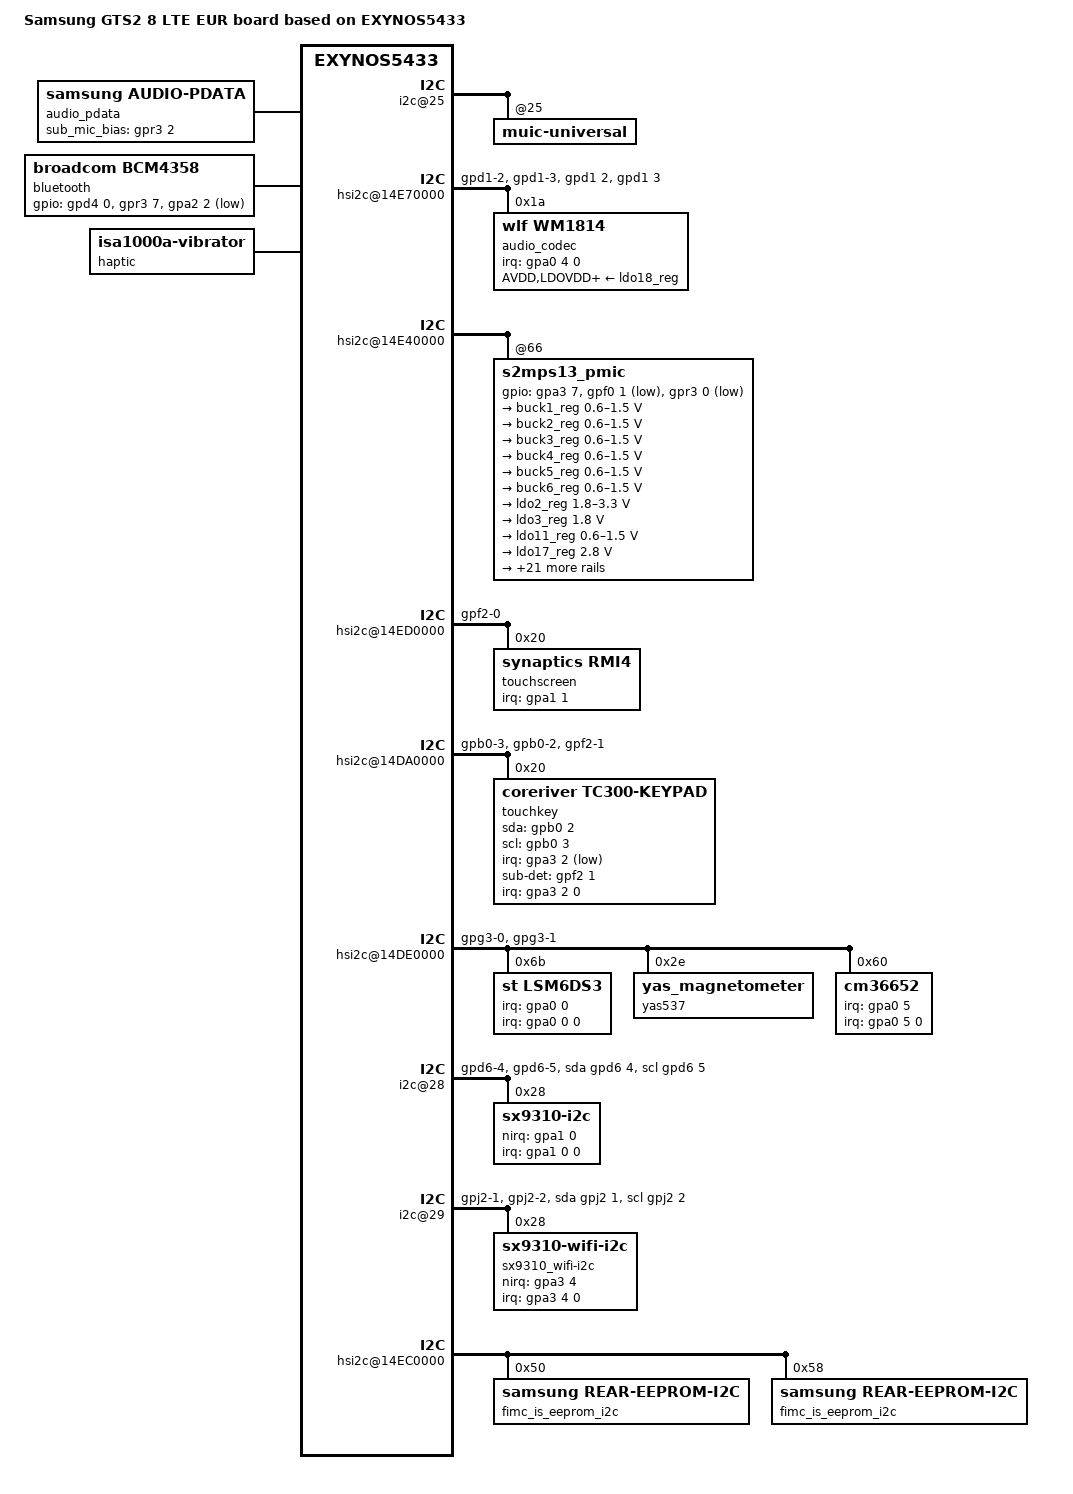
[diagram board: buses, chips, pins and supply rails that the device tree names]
/*
 * SAMSUNG UNIVERSAL5433 board device tree source
 *
 * Copyright (c) 2013 Samsung Electronics Co., Ltd.
 *		http://www.samsung.com
 *
 * This program is free software; you can redistribute it and/or modify
 * it under the terms of the GNU General Public License version 2 as
 * published by the Free Software Foundation.
*/
/dts-v1/;
#include "exynos5433-gts2_common.dtsi"
#include "exynos5433-gts28_gpio_04.dtsi"
#include "exynos5433-gts28_battery_04.dtsi"
#include "exynos5433-modem-ss333.dtsi"
#include "exynos5433-gts28_mhl2x.dtsi"
#include "exynos5433-gts28_fingerprint-sensor_00.dtsi"

/ {
	model = "Samsung GTS2 8 LTE EUR board based on EXYNOS5433";
	model_info-chip = <5433>;
	model_info-platform = "gts28";
	model_info-subtype = "gts28_eur_open";
	model_info-hw_rev = <4>;
	model_info-hw_rev_end = <4>;
	compatible = "samsung,GTS2 8 LTE 04", "samsung,exynos5433";

	i2c@25 {
		status = "okay";
		muic-universal@25 {
			status = "okay";
			muic-universal,chip_name = "sm,sm5703";
		};
	};

	hsi2c@14E70000 {
		status = "okay";
		pinctrl-names = "default";
		pinctrl-0 = <&codec_i2c>;
		gpios = <&gpd1 2 0    /* sda */
				&gpd1 3 0   /* scl */ >;
		#address-cells = <1>;
		#size-cells = <0>;

		audio_codec: wm1814@1a {
			compatible = "wlf,wm1814";
			reg = <0x1a>;
			interrupts = <4 0 0>;
			interrupt-parent = <&gpa0>;

			gpio-controller;
			#gpio-cells = <2>;
			pinctrl-names = "default";
			pinctrl-0 = <&codec_reset &codec_ldoena &audio_ctrl &codec_irq>;
			wlf,reset = <&gpc0 7 0>;
			wlf,ldoena = <&gpf0 0 0>;
			wlf,init-mic-delay = <30>;
			wlf,micd-detect-debounce = <300>;
			wlf,micd-pol-gpio = <0>;
			wlf,micd-bias-start-time = <0x1>;
			wlf,micd-rate = <0x7>;
			wlf,micd-dbtime = <0x1>;
			wlf,micd-timeout = <1000>;
			wlf,micd-force-micbias;
			wlf,hpdet-moisture-imp = <2000>;
			wlf,hpdet-channel = <1>;
			wlf,hpdet-ext-res = <11>;
			wlf,hpdet-short-circuit-imp = <3>;
			wlf,micd-ranges = <
				116 226
				173 582
				321 115
				752 114
				1257 217
			>;

			wlf,micd-configs = <
				0x0 1 0
			>;

			wlf,micbias1 = <2800 0 1 0 0>;
			wlf,micbias2 = <2800 0 1 0 0>;

			wlf,gpio-defaults = <
				0xA101
				0xA101
				0xA101
				0xA101
				0x8101
			>;

			wlf,gpsw = <0x3>;
			wlf,use-jd-gpio;
			wlf,jd-gpio-nopull;
			wlf,micd-software-compare;
			wlf,micd-open-circuit-declare = <1>;
			wlf,jd-wake-time = <5000>;

			wlf,max-channels-clocked = <2 0 0>;
			/* 0:MICVDD 1:MICBIAS1 2:MICBIAS2 3:MICBIAS3 */
			wlf,dmic-ref = <2 1 3 0>;
			/* 1st cell:IN1 2rd cell:IN2 3nd cell:IN3 4th cell:IN4 */
			wlf,inmode = <0 0 0 0>;
			/* 1st cell:OUT1 2nd cell:OUT2 3rd cell:OUT3... 6th cell:OUT6 */
			wlf,out-mono = <0 1 1 0 0 0>;

			AVDD-supply = <&ldo18_reg>;
			LDOVDD-supply = <&ldo18_reg>;
			DBVDD1-supply = <&ldo18_reg>;

			CPVDD-supply = <&ldo18_reg>;
			DBVDD2-supply = <&ldo18_reg>;
			DBVDD3-supply = <&ldo18_reg>;
			SPKVDDL-supply = <&ldo18_reg>;
			SPKVDDR-supply = <&ldo18_reg>;

		};
	};

	audio_pdata {
		compatible = "samsung,audio-pdata";
		sub_mic_bias_gpio = <&gpr3 2 0>;
		status = "okay";
	};

	pinctrl@11090000 {
		codec_ldoena: codec-ldoena {
			samsung,pins ="gpf0-0";
			samsung,pin-con-pdn =<3>;
		};
	};

	pinctrl@14CC0000 {
		codec_reset: codec-reset {
			samsung,pins ="gpc0-7";
			samsung,pin-function = <1>;
			samsung,pin-pud = <1>;
			samsung,pin-con-pdn =<3>;
			samsung,pin-pud-pdn = <1>;
		};

		codec_i2c: codec-i2c {
			samsung,pins = "gpd1-2", "gpd1-3";
			samsung,pin-function = <3>; //HSI2C_3_SDA( GPD1[2) , HSI2C_3_SCL( GPD1[3])
			samsung,pin-pud = <3>;      // 0 (pull_none) 1 (pull_down) 3 (pull_up)
		};
	};

	pinctrl@15690000{
		audio_ctrl: audio-ctl {
			samsung,pins ="gpr3-2";
			samsung,pin-con-pdn =<3>;
		};
	};

	pinctrl@10580000 {
		codec_irq: codec-irq {
			samsung,pins = "gpa0-4";
			samsung,pin-pud = <0>;
		};
	};

	pinctrl@114B0000 {
		uart_aud_rts: uart-aud-rts {
			samsung,pins = "gpz1-3";
			samsung,pin-function = <2>;
			samsung,pin-pud = <0>;
			samsung,pin-con-pdn = <1>;
			samsung,pin-pud-pdn = <0>;
		};

		uart_aud_cts: uart-aud-cts {
			samsung,pins = "gpz1-2";
			samsung,pin-function = <2>;
			samsung,pin-pud = <0>;
			samsung,pin-con-pdn = <2>;
			samsung,pin-pud-pdn = <0>;
		};

		uart_aud_rx: uart-aud-rx {
			samsung,pins = "gpz1-1";
			samsung,pin-function = <2>;
			samsung,pin-pud = <0>;
			samsung,pin-con-pdn = <2>;
			samsung,pin-pud-pdn = <0>;
		};

		uart_aud_tx: uart-aud-tx {
			samsung,pins = "gpz1-0";
			samsung,pin-function = <2>;
			samsung,pin-pud = <0>;
			samsung,pin-con-pdn = <1>;
			samsung,pin-pud-pdn = <0>;
		};
	};

	serial@11460000 {
		pinctrl-0 = <&uart_aud_rts &uart_aud_cts &uart_aud_rx &uart_aud_tx>;
		pinctrl-1 = <&uart_aud_rx &uart_aud_tx &uart_aud_bus_idle>;
	};

	pinctrl@14CC0000 {
		cfg_en: cfg-en {
			samsung,pins ="gpd4-0";
			samsung,pin-function = <1>;
			samsung,pin-pud = <1>;
			samsung,pin-con-pdn = <3>;
			samsung,pin-pud-pdn = <1>;
		};
	};

	pinctrl@10580000{
		cfg_hostwake: cfg-hostwake {
			samsung,pins = "gpa2-2";
			samsung,pin-function = <0>;
			samsung,pin-pud = <0>;
			samsung,pin-con-pdn = <2>;
			samsung,pin-pud-pdn = <0>;
		};
	};

	pinctrl@15690000{
		cfg_btwake: cfg-btwake {
			samsung,pins = "gpr3-7";
			samsung,pin-function = <1>;
			samsung,pin-pud = <0>;
			samsung,pin-con-pdn = <0>;
			samsung,pin-pud-pdn = <1>;
		};
	};

	bluetooth {
		compatible = "broadcom,bcm4358";

		gpios = <&gpd4 0 0	/*BT_EN*/
				&gpr3 7 0	/*BT_WAKE*/
				&gpa2 2 0xF	/*BT_HOST_WAKE*/ >;

		pinctrl-names = "default";
		pinctrl-0=<&cfg_hostwake &cfg_btwake &cfg_en>;
		status = "okay";
	};

	pinctrl@15690000 {
		pm_dvs_en: pm-dvs-en {
			samsung,pins = "gpr3-0";
			samsung,pin-pud = <0>;
		};
	};

	pinctrl@11090000 {
		pm_g3d_en: pm-g3d-en {
			samsung,pins = "gpf0-1";
			samsung,pin-pud = <3>;
		};
	};

	hsi2c@14E40000 {
		s2mps13_pmic@66 {
			pinctrl-names = "default";
			pinctrl-0 = <&pm_g3d_en &pm_dvs_en &pmic_irq &pm_wrsti &gpa3_pull_up>;
			gpios = <&gpa3 7 0>, <&gpf0 1 0x1>, <&gpr3 0 0x1>;
			g3d_en = <1>; /* 1 : enable , 0 : disable */
			smpl_warn_vth = <0xd8>; /* LowBat_Level: 2.9V LowBat_Hys: 400mV */
			/* RTC: smpl */
			smpl_timer_val = <0>;	/* 100ms */
			regulators {
				buck1_reg: BUCK1 {
					regulator-name = "vdd_mif";
					regulator-min-microvolt = <600000>;
					regulator-max-microvolt = <1500000>;
					regulator-always-on;
					regulator-boot-on;
					regulator-ramp-delay = <12000>;
					regulator-initial-mode = <1>;
				};

				buck2_reg: BUCK2 {
					regulator-name = "vdd_eagle";
					regulator-min-microvolt = <600000>;
					regulator-max-microvolt = <1500000>;
					regulator-always-on;
					regulator-boot-on;
					regulator-ramp-delay = <12000>;
					regulator-initial-mode = <1>;
				};

				buck3_reg: BUCK3 {
					regulator-name = "vdd_kfc";
					regulator-min-microvolt = <600000>;
					regulator-max-microvolt = <1500000>;
					regulator-always-on;
					regulator-boot-on;
					regulator-ramp-delay = <12000>;
					regulator-initial-mode = <1>;
				};

				buck4_reg: BUCK4 {
					regulator-name = "vdd_int";
					regulator-min-microvolt = <600000>;
					regulator-max-microvolt = <1500000>;
					regulator-always-on;
					regulator-boot-on;
					regulator-ramp-delay = <12000>;
					regulator-initial-mode = <1>;
				};

				buck5_reg: BUCK5 {
					regulator-name = "vdd_disp_cam0";
					regulator-min-microvolt = <600000>;
					regulator-max-microvolt = <1500000>;
					regulator-always-on;
					regulator-boot-on;
					regulator-ramp-delay = <12000>;
					regulator-initial-mode = <1>;
				};

				buck6_reg: BUCK6 {
					regulator-name = "vdd_g3d";
					regulator-min-microvolt = <600000>;
					regulator-max-microvolt = <1500000>;
					regulator-always-on;
					regulator-boot-on;
					regulator-ramp-delay = <12000>;
					regulator-initial-mode = <1>;
				};

				ldo2_reg: LDO2 {
					regulator-name = "vqmmc";
					regulator-min-microvolt = <1800000>;
					regulator-max-microvolt = <3300000>;
					regulator-boot-on;
					regulator-ramp-delay = <12000>;
					regulator-initial-mode = <1>;
				};

				ldo3_reg: LDO3 {
					regulator-name = "VDD1_E_1.8V_AP";
					regulator-min-microvolt = <1800000>;
					regulator-max-microvolt = <1800000>;
					regulator-always-on;
				};

				ldo11_reg: LDO11 {
					regulator-name = "vdd_int_m";
					regulator-min-microvolt = <600000>;
					regulator-max-microvolt = <1500000>;
					regulator-always-on;
					regulator-boot-on;
					regulator-ramp-delay = <12000>;
					regulator-initial-mode = <1>;
				};

				ldo17_reg: LDO17 {
					regulator-name = "vmmc";
					regulator-min-microvolt = <2800000>;
					regulator-max-microvolt = <2800000>;
				};

				ldo18_reg: LDO18 {
					regulator-name = "V_CODEC_1.8V_AP";
					regulator-min-microvolt = <1800000>;
					regulator-max-microvolt = <1800000>;
					regulator-always-on;
					regulator-initial-mode = <3>;
				};

				ldo19_reg: LDO19 {
					regulator-name = "GRIP_1.8V";
					regulator-min-microvolt = <1800000>;
					regulator-max-microvolt = <1800000>;
					regulator-always-on;
					regulator-boot-on;
				};

				ldo20_reg: LDO20 {
					regulator-name = "VCC_2.8V_AP";
					regulator-min-microvolt = <2800000>;
					regulator-max-microvolt = <2800000>;
					regulator-always-on;
					regulator-boot-on;
				};

				ldo21_reg: LDO21 {
					regulator-name = "VT_CAM_1.8V";
					regulator-min-microvolt = <1800000>;
					regulator-max-microvolt = <1800000>;
				};

				ldo22_reg: LDO22 {
					regulator-name = "CAM_IO_1.8V_AP";
					regulator-min-microvolt = <1800000>;
					regulator-max-microvolt = <1800000>;
				};

				ldo23_reg: LDO23 {
					regulator-name = "CAM_SEN_CORE_1.2V_AP";
					regulator-min-microvolt = <1300000>;
					regulator-max-microvolt = <1300000>;
				};

				ldo25_reg: LDO25 {
					regulator-name = "VCI_3.0V";
					regulator-min-microvolt = <3000000>;
					regulator-max-microvolt = <3000000>;
					regulator-boot-on;
				};

				ldo26_reg: LDO26 {
					regulator-name = "CAM_AF_2.8V_AP";
					regulator-min-microvolt = <2800000>;
					regulator-max-microvolt = <2800000>;
				};

				ldo27_reg: LDO27 {
					regulator-name = "VT_CAM_2.8V";
					regulator-min-microvolt = <2800000>;
					regulator-max-microvolt = <2800000>;
				};

				ldo29_reg: LDO29 {
					regulator-name = "CAM_SEN_A2.8V_AP";
					regulator-min-microvolt = <2800000>;
					regulator-max-microvolt = <2800000>;
				};

				ldo30_reg: LDO30 {
				        regulator-name = "tsp_avdd";
				        regulator-min-microvolt = <3300000>;
				        regulator-max-microvolt = <3300000>;
				};

				ldo31_reg: LDO31 {
				        regulator-name = "tsp_io";
				        regulator-min-microvolt = <1850000>;
				        regulator-max-microvolt = <1850000>;
				};

				ldo32_reg: LDO32 {
					regulator-name = "vtouch_1.8v";
					regulator-min-microvolt = <1800000>;
					regulator-max-microvolt = <1800000>;
					regulator-boot-on;
				};

				ldo33_reg: LDO33 {
					regulator-name = "vtouch_3.3v";
					regulator-min-microvolt = <3300000>;
					regulator-max-microvolt = <3300000>;
				};

				ldo34_reg: LDO34 {
					regulator-name = "VCC_1.8V_MHL";
					regulator-min-microvolt = <1800000>;
					regulator-max-microvolt = <1800000>;
				};

				ldo35_reg: LDO35 {
					regulator-name = "VCC_3.0V_MOTOR_AP";
					regulator-min-microvolt = <3000000>;
					regulator-max-microvolt = <3000000>;
				};

				ldo36_reg: LDO36 {
					regulator-name = "VSIL_1.2A";
					regulator-min-microvolt = <1250000>;
					regulator-max-microvolt = <1250000>;
				};

				ldo37_reg: LDO37 {
					regulator-name = "VDDR_1.6V";
					regulator-min-microvolt = <1600000>;
					regulator-max-microvolt = <1600000>;
					regulator-boot-on;
				};

				ldo38_reg: LDO38 {
					regulator-name = "VCC_3.3V_MHL";
					regulator-min-microvolt = <3300000>;
					regulator-max-microvolt = <3300000>;
				};

				ldo39_reg: LDO39 {
					regulator-name = "VDD3_1.8V";
					regulator-min-microvolt = <1800000>;
					regulator-max-microvolt = <1800000>;
					regulator-boot-on;
				};

				ldo40_reg: LDO40 {
					regulator-name = "VLED_2.8V";
					regulator-min-microvolt = <2800000>;
					regulator-max-microvolt = <2800000>;
				};
			};
		};
	};

	pinctrl@14CC0000 {
		vibetonz_pwm: vibetonz-pwm {
		      samsung,pins = "gpd2-4";
		      samsung,pin-function = <2>;
		      samsung,pin-pud = <0>;
		      samsung,pin-drv = <0>;
	      };
	};

	pinctrl@10580000 {
		attn_irq: attn-irq {
			samsung,pins = "gpa1-1";
			samsung,pin-function = <0xf>;
			samsung,pin-pud = <0>;
			samsung,pin-drv = <0>;
		};

		attn_input: attn-input {
			samsung,pins = "gpa1-1";
			samsung,pin-function = <0>;
			samsung,pin-pud = <1>;
			samsung,pin-drv = <0>;
		};

		tsp_rst_default: tsp-rst-default {
			samsung,pins = "gpf2-0";
			samsung,pin-function = <0>;
			samsung,pin-pud = <0>;
			samsung,pin-drv = <0>;
		};
	};

	hsi2c@14ED0000 {
		pinctrl-names = "default";
		pinctrl-0 = <&hs_i2c5_bus &tsp_rst_default>;
		samsung,i2c-sda-delay = <100>;
		samsung,i2c-max-bus-freq = <400000>;
		status = "okay";
		touchscreen@20 {
			compatible = "synaptics,rmi4";
			reg = <0x20>;
			pinctrl-names = "on_state", "off_state";
			pinctrl-0 = <&attn_irq>;
			pinctrl-1 = <&attn_input>;
			synaptics,irq_gpio = <&gpa1 1 0>;
			synaptics,irq_type = <8200>;
			synaptics,max_coords = <1536 2048>;	/* x y */
			synaptics,num_lines = <41 31>;		/* rx tx */
			synaptics,regulator_dvdd = "tsp_io";
			synaptics,regulator_avdd = "tsp_avdd";
			synaptics,project_name = "GTS28","T715";
			synaptics,firmware_name = "tsp_synaptics/synaptics_5807_gts28.fw";
			synaptics,firmware_name2 = "tsp_synaptics/synaptics_5806_gts28.fw";
		};
	};

	pinctrl@14CC0000 {
		/* touchkey i2c*/
		hs_i2c9_bus: hs-i2c9-bus {
			samsung,pins = "gpb0-3", "gpb0-2";
			samsung,pin-function = <4>;
			samsung,pin-pud = <3>;
			samsung,pin-drv = <0>;
		};
		cfg_i2c: cfg-i2c {
			samsung,pins = "gpb0-3", "gpb0-2";
			samsung,pin-function = <4>;
			samsung,pin-pud = <3>;
			samsung,pin-drv = <0>;
		};
		cfg_gpio: cfg_gpio {
			samsung,pins = "gpb0-3", "gpb0-2";
			samsung,pin-function = <2>;
			samsung,pin-pud = <0>;
			samsung,pin-drv = <0>;
		};
	};

	pinctrl@10580000 {
		sub_det: sub-det {
			samsung,pins = "gpf2-1";
			samsung,pin-function = <0>;
			samsung,pin-pud = <0>;
			samsung,pin-drv = <0>;
		};
	};

	hsi2c@14DA0000 {
		status = "okay";
		pinctrl-names = "default","on_i2c","off_i2c";
		pinctrl-0 = <&hs_i2c9_bus &sub_det>;
		pinctrl-1 = <&cfg_i2c>;
		pinctrl-2 = <&cfg_gpio>;
		touchkey@20 {
			pinctrl-names = "default";
			pinctrl-0 = <&cfg_irq>;
			compatible = "coreriver,tc300-keypad";
			reg = <0x20>;
			interrupts = <2 0 0>;
			interrupt-parent = <&gpa3>;
			coreriver,sda-gpio = <&gpb0 2 0>;
			coreriver,scl-gpio = <&gpb0 3 0>;
			coreriver,irq-gpio = <&gpa3 2 1>;
			coreriver,sub-det-gpio = <&gpf2 1 0>;
			coreriver,regulator_ic = "vtouch_1.8v";
			coreriver,regulator_led = "vtouch_3.3v";
			coreriver,fw_name = "coreriver/tc350k_gts28.fw";
			coreriver,sensing_ch_num = <0x4>;
			coreriver,tsk_ic_num = <0x1>; /* tc300k : 0x00, tc350k : 0x01 */
			coreriver,use_bitmap = <1>;
			coreriver,boot-on-ldo = "true";
		};
	};

	pinctrl@10580000{
		ps_als: ps-als {
			samsung,pins = "gpa0-5";
			samsung,pin-function = <0x0>;
			samsung,pin-pud = <0>;
			samsung,pin-drv = <0>;
		};
	};

	pinctrl@14CC0000 {
		/* sensor i2c*/
		hs_i2c10_bus: hs-i2c10-bus {
			samsung,pins = "gpg3-0", "gpg3-1";
			samsung,pin-function = <0x4>;
			samsung,pin-pud = <0>;
			samsung,pin-drv = <0>;
		};
	};

	hsi2c@14DE0000 {
		samsung,i2c-sda-delay = <100>;
		samsung,i2c-max-bus-freq = <400000>;
		status = "okay";
		pinctrl-names = "default";
		pinctrl-0 = <&hs_i2c10_bus>;
		lsm6ds3@6b {
			compatible = "st,lsm6ds3";
			reg = <0x6b>;
			pinctrl-names = "default";
			interrupt-parent = <&gpa0>;
			interrupts = <0 0 0>;

			st,drdy-int-pin = <1>;
			st,irq_gpio = <&gpa0 0 0x00>;
			st,orientation = <1 2 1 2 1 1 1 1 0>;
		};
		yas537@2e {
			compatible = "yas_magnetometer";
			reg = <0x2e>;
			yas,orientation = <7>;
			yas,softiron = <10119 44 83 44 9871 170 96 59 10125>;
			yas,softiron_sign = <2 2 0 0 2 0 0 0 2>;
		};
		cm36652@60 {
			compatible = "cm36652";
			reg = <0x60>;
			pinctrl-names = "default";
			pinctrl-0 = <&ps_als>;
			interrupt-parent = <&gpa0>;
			interrupts = <5 0 0>;
			cm36652,irq_gpio = <&gpa0 5 0x00>;
			cm36652,default_hi_thd = <17>;
			cm36652,default_low_thd = <13>;
			cm36652,cancel_hi_thd = <10>;
			cm36652,cancel_low_thd = <7>;
			cm36652,trim = <0x0003>;
		};
	};

	pinctrl@14CC0000{
		grip_reg: grip-reg {
			samsung,pins = "gpd6-4", "gpd6-5";
			samsung,pin-function = <0x0>;
			samsung,pin-pud = <0>;
			samsung,pin-drv = <0>;
		};
	};

	pinctrl@10580000{
		grip_det: grip-det {
			samsung,pins = "gpa1-0";
			samsung,pin-function = <0x0>;
			samsung,pin-pud = <0>;
			samsung,pin-drv = <0>;
		};
	};

	i2c@28 {
		compatible = "i2c-gpio";
		gpios = <&gpd6 4 0    /* sda */
				  &gpd6 5 0   /* scl */
			>;
		pinctrl-names = "default";
		pinctrl-0 = <&grip_reg>;
		i2c-gpio,delay-us = <2>;
		#address-cells = <1>;
		#size-cells = <0>;

		sx9310-i2c@28 {
			compatible = "sx9310-i2c";
			reg = <0x28>;
			pinctrl-names = "default";
			pinctrl-0 = <&grip_det>;
			interrupts = <0 0 0>;
			interrupt-parent = <&gpa1>;
			sx9310-i2c,nirq-gpio = <&gpa1 0 0x00>;
		};
	};

	pinctrl@14CA0000{
		wifi_grip_reg: wifi-grip-reg {
			samsung,pins = "gpj2-1", "gpj2-2";
			samsung,pin-function = <0x0>;
			samsung,pin-pud = <0>;
			samsung,pin-drv = <0>;
		};
	};

	pinctrl@10580000{
		wifi_touch: wifi-touch {
			samsung,pins = "gpa3-4";
			samsung,pin-function = <0x0>;
			samsung,pin-pud = <0>;
			samsung,pin-drv = <0>;
		};
	};

	i2c@29 {
		compatible = "i2c-gpio";
		gpios = <&gpj2 1 0    /* sda */
				  &gpj2 2 0   /* scl */
			>;
		pinctrl-names = "default";
		pinctrl-0 = <&wifi_grip_reg>;
		i2c-gpio,delay-us = <2>;
		#address-cells = <1>;
		#size-cells = <0>;

		sx9310_wifi-i2c@28 {
			compatible = "sx9310-wifi-i2c";
			reg = <0x28>;
			pinctrl-names = "default";
			pinctrl-0 = <&wifi_touch>;
			interrupts = <4 0 0>;
			interrupt-parent = <&gpa3>;
			sx9310_wifi-i2c,nirq-gpio = <&gpa3 4 0x00>;
		};
	};

	haptic {
		status = "okay";
		compatible = "isa1000a-vibrator";
		pinctrl-names = "default";
		pinctrl-0 = <&motor_en &vibetonz_pwm>;
		haptic,max_timeout = <10000>;
		haptic,duty = <24872>;
		haptic,period = <33238>;
		haptic,reg2 = <0x82>;
		haptic,pwm_id = <0>;
		haptic,en = <&gpc0 1 0>;
		haptic,regulator_name = "VCC_3.0V_MOTOR_AP";
	};

	pinctrl@14CC0000 {
		motor_en: motor_en {
			samsung,pins = "gpc0-1";
			samsung,pin-function = <2>;
			samsung,pin-pud = <0>;
			samsung,pin-drv = <0>;
		};
	};

	hsi2c@14EC0000 {
		status = "okay";
		fimc_is_eeprom_i2c@50 {
			compatible = "samsung,rear-eeprom-i2c";
			reg = <0x50>;
			use_i2c_pinctrl;
			fimc_is_rear_eeprom_pinname = "14cd0000.pinctrl";
			fimc_is_rear_eeprom_sda = "gpj0-0";
			fimc_is_rear_eeprom_scl = "gpj0-1";
			pinfunc_on = <4>;
			pinfunc_off = <0>;
			actuator_id = <8>;
		};
		fimc_is_eeprom_i2c@58 {
			compatible = "samsung,rear-eeprom-i2c";
			reg = <0x58>;
			use_i2c_pinctrl;
			fimc_is_rear_eeprom_pinname = "14cd0000.pinctrl";
			fimc_is_rear_eeprom_sda = "gpj0-0";
			fimc_is_rear_eeprom_scl = "gpj0-1";
			pinfunc_on = <4>;
			pinfunc_off = <0>;
			use_module_i2c_check;
			actuator_id = <13>;
		};
	};

	pinctrl@10580000 {
		/delete-node/ disp_errfg;
		/delete-node/ disp_errfg_off;
	};

	pinctrl@14CC0000 {
		disp_errfg: disp_errfg {
			samsung,pins = "gpb0-4";
			samsung,pin-function = <0xf>;
			samsung,pin-pud = <1>;
		};
		disp_errfg_off: disp_errfg_off {
			samsung,pins = "gpb0-4";
			samsung,pin-function = <1>;
			samsung,pin-pud = <1>;
			samsung,pin-val = <0>;
		};
	};

	/* disp_driver */
	decon_fb: decon_fb {
		oled-pcd-gpio = <&gpa0 2 0x1>;
		lcd_info = <&s6e3ha2>;
		decon_board = <&decon_board_gts28>;
	};
};
